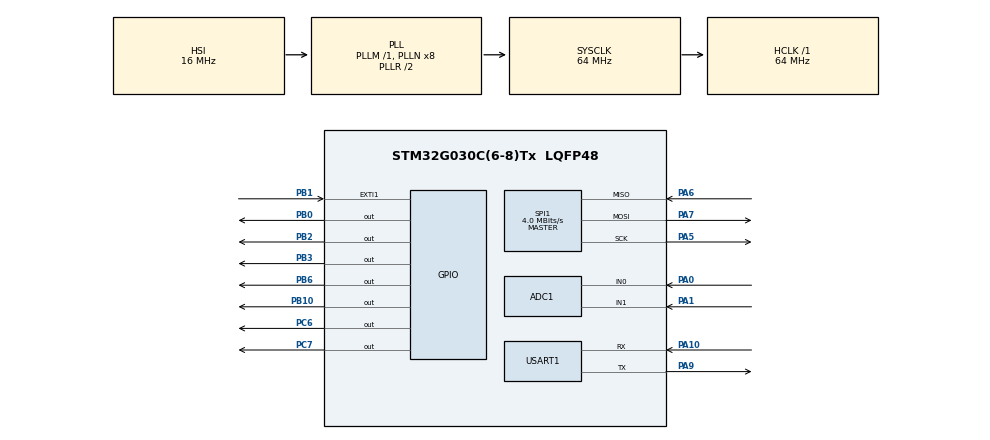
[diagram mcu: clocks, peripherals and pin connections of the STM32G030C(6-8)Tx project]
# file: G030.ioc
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ADC1.Channel-0\#ChannelRegularConversion=ADC_CHANNEL_0
ADC1.Channel-1\#ChannelRegularConversion=ADC_CHANNEL_1
ADC1.ContinuousConvMode=ENABLE
ADC1.DMAContinuousRequests=ENABLE
ADC1.NbrOfConversion=2
ADC1.NbrOfConversionFlag=1
ADC1.Rank-0\#ChannelRegularConversion=1
ADC1.Rank-1\#ChannelRegularConversion=2
ADC1.SamplingTime-0\#ChannelRegularConversion=ADC_SAMPLINGTIME_COMMON_1
ADC1.SamplingTime-1\#ChannelRegularConversion=ADC_SAMPLINGTIME_COMMON_2
ADC1.SamplingTimeCommon1=ADC_SAMPLETIME_160CYCLES_5
ADC1.SamplingTimeCommon2=ADC_SAMPLETIME_160CYCLES_5
ADC1.SelectedChannel=ADC_CHANNEL_0|ADC_CHANNEL_1
ADC1.master=1
Dma.ADC1.0.Direction=DMA_PERIPH_TO_MEMORY
Dma.ADC1.0.EventEnable=DISABLE
Dma.ADC1.0.Instance=DMA1_Channel1
Dma.ADC1.0.MemDataAlignment=DMA_MDATAALIGN_HALFWORD
Dma.ADC1.0.MemInc=DMA_MINC_ENABLE
Dma.ADC1.0.Mode=DMA_NORMAL
Dma.ADC1.0.PeriphDataAlignment=DMA_PDATAALIGN_HALFWORD
Dma.ADC1.0.PeriphInc=DMA_PINC_DISABLE
Dma.ADC1.0.Polarity=HAL_DMAMUX_REQ_GEN_RISING
Dma.ADC1.0.Priority=DMA_PRIORITY_LOW
Dma.ADC1.0.RequestNumber=1
Dma.ADC1.0.SignalID=NONE
Dma.ADC1.0.SyncEnable=DISABLE
Dma.ADC1.0.SyncPolarity=HAL_DMAMUX_SYNC_NO_EVENT
Dma.ADC1.0.SyncRequestNumber=1
Dma.ADC1.0.SyncSignalID=NONE
Dma.Request0=ADC1
Dma.Request1=USART1_TX
Dma.Request2=USART1_RX
Dma.USART1_RX.2.Direction=DMA_PERIPH_TO_MEMORY
Dma.USART1_RX.2.EventEnable=DISABLE
Dma.USART1_RX.2.Instance=DMA1_Channel3
Dma.USART1_RX.2.MemDataAlignment=DMA_MDATAALIGN_BYTE
Dma.USART1_RX.2.MemInc=DMA_MINC_ENABLE
Dma.USART1_RX.2.Mode=DMA_NORMAL
Dma.USART1_RX.2.PeriphDataAlignment=DMA_PDATAALIGN_BYTE
Dma.USART1_RX.2.PeriphInc=DMA_PINC_DISABLE
Dma.USART1_RX.2.Polarity=HAL_DMAMUX_REQ_GEN_RISING
Dma.USART1_RX.2.Priority=DMA_PRIORITY_LOW
Dma.USART1_RX.2.RequestNumber=1
Dma.USART1_RX.2.SignalID=NONE
Dma.USART1_RX.2.SyncEnable=DISABLE
Dma.USART1_RX.2.SyncPolarity=HAL_DMAMUX_SYNC_NO_EVENT
Dma.USART1_RX.2.SyncRequestNumber=1
Dma.USART1_RX.2.SyncSignalID=NONE
Dma.USART1_TX.1.Direction=DMA_MEMORY_TO_PERIPH
Dma.USART1_TX.1.EventEnable=DISABLE
Dma.USART1_TX.1.Instance=DMA1_Channel2
Dma.USART1_TX.1.MemDataAlignment=DMA_MDATAALIGN_BYTE
Dma.USART1_TX.1.MemInc=DMA_MINC_ENABLE
Dma.USART1_TX.1.Mode=DMA_NORMAL
Dma.USART1_TX.1.PeriphDataAlignment=DMA_PDATAALIGN_BYTE
Dma.USART1_TX.1.PeriphInc=DMA_PINC_DISABLE
Dma.USART1_TX.1.Polarity=HAL_DMAMUX_REQ_GEN_RISING
Dma.USART1_TX.1.Priority=DMA_PRIORITY_MEDIUM
Dma.USART1_TX.1.RequestNumber=1
Dma.USART1_TX.1.SignalID=NONE
Dma.USART1_TX.1.SyncEnable=DISABLE
Dma.USART1_TX.1.SyncPolarity=HAL_DMAMUX_SYNC_NO_EVENT
Dma.USART1_TX.1.SyncRequestNumber=1
Dma.USART1_TX.1.SyncSignalID=NONE
Mcu.Family=STM32G0
Mcu.Name=STM32G030C(6-8)Tx
Mcu.Package=LQFP48
NVIC.DMA1_Channel1_IRQn=true\:0\:0\:false\:false\:true\:false\:true\:true
NVIC.DMA1_Channel2_3_IRQn=true\:0\:0\:false\:false\:true\:false\:true\:true
NVIC.EXTI0_1_IRQn=true\:0\:0\:true\:false\:true\:true\:true\:true
NVIC.TIM1_BRK_UP_TRG_COM_IRQn=true\:1\:0\:true\:false\:true\:true\:true\:true
NVIC.USART1_IRQn=true\:2\:0\:true\:false\:true\:true\:true\:true
PA0.Mode=IN0
PA0.Signal=ADC1_IN0
PA1.Mode=IN1
PA1.Signal=ADC1_IN1
PA10.GPIO_Speed=GPIO_SPEED_FREQ_VERY_HIGH
PA10.Mode=Asynchronous
PA10.Signal=USART1_RX
PA13.Mode=Serial_Wire
PA13.Signal=SYS_SWDIO
PA14-BOOT0.Mode=Serial_Wire
PA14-BOOT0.Signal=SYS_SWCLK
PA5.Mode=Full_Duplex_Master
PA5.Signal=SPI1_SCK
PA6.Mode=Full_Duplex_Master
PA6.Signal=SPI1_MISO
PA7.Mode=Full_Duplex_Master
PA7.Signal=SPI1_MOSI
PA9.GPIO_Speed=GPIO_SPEED_FREQ_VERY_HIGH
PA9.Mode=Asynchronous
PA9.Signal=USART1_TX
PB0.Signal=GPIO_Output
PB1.Signal=GPXTI1
PB10.PinState=GPIO_PIN_SET
PB10.Signal=GPIO_Output
PB2.Signal=GPIO_Output
PB3.GPIO_ModeDefaultOutputPP=GPIO_MODE_OUTPUT_OD
PB3.GPIO_PuPd=GPIO_PULLUP
PB3.GPIO_Speed=GPIO_SPEED_FREQ_HIGH
PB3.PinState=GPIO_PIN_SET
PB3.Signal=GPIO_Output
PB6.GPIO_ModeDefaultOutputPP=GPIO_MODE_OUTPUT_OD
PB6.GPIO_PuPd=GPIO_PULLUP
PB6.GPIO_Speed=GPIO_SPEED_FREQ_HIGH
PB6.PinState=GPIO_PIN_SET
PB6.Signal=GPIO_Output
PC6.Signal=GPIO_Output
PC7.Signal=GPIO_Output
PF0-OSC_IN\ (PF0).Mode=HSE-External-Clock-Source
PF0-OSC_IN\ (PF0).Signal=RCC_OSC_IN
ProjectManager.HeapSize=0x200
ProjectManager.StackSize=0x400
ProjectManager.TargetToolchain=MDK-ARM V5.32
RCC.ADCFreq_Value=64000000
RCC.AHBFreq_Value=64000000
RCC.CortexFreq_Value=64000000
RCC.EXTERNAL_CLOCK_VALUE=12288000
RCC.HCLKFreq_Value=64000000
RCC.HSE_VALUE=8000000
RCC.HSI_VALUE=16000000
RCC.LSE_VALUE=32768
RCC.SYSCLKFreq_VALUE=64000000
RCC.SYSCLKSource=RCC_SYSCLKSOURCE_PLLCLK
RCC.VCOOutputFreq_Value=128000000
SPI1.BaudRatePrescaler=SPI_BAUDRATEPRESCALER_16
SPI1.CLKPhase=SPI_PHASE_2EDGE
SPI1.CalculateBaudRate=4.0 MBits/s
SPI1.Direction=SPI_DIRECTION_2LINES
SPI1.Mode=SPI_MODE_MASTER
SPI1.VirtualType=VM_MASTER
TIM1.AutoReloadPreload=TIM_AUTORELOAD_PRELOAD_ENABLE
TIM1.Period=999
TIM1.Prescaler=63
TIM1.RepetitionCounter=9
USART1.VirtualMode-Asynchronous=VM_ASYNC
VP_TIM1_VS_ClockSourceINT.Mode=Internal
board=custom

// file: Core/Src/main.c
/* USER CODE BEGIN Header */
/**
  ******************************************************************************
  * @file           : main.c
  * @brief          : Main program body
  ******************************************************************************
  * @attention
  *
  * Copyright (c) 2025 STMicroelectronics.
  * All rights reserved.
  *
  * This software is licensed under terms that can be found in the LICENSE file
  * in the root directory of this software component.
  * If no LICENSE file comes with this software, it is provided AS-IS.
  *
  ******************************************************************************
  */
/* USER CODE END Header */
#include "main.h"
#include "adc.h"
#include "dma.h"
#include "spi.h"
#include "tim.h"
#include "usart.h"
#include "gpio.h"

/* USER CODE BEGIN Includes */
#include "stdio.h"
#include <string.h>
#include "bsp_adc_dma.h"
#include "bsp_tim.h"
#include "bsp_soft_i2c.h"
#include "bsp_ir_red_cal2.h"
#include "bsp_usart_dma.h"
#include "NLsocket.h"
/* USER CODE END Includes */

/* USER CODE BEGIN PV */
volatile uint8_t adc_data_ready = 0;
uint8_t fifo_buffer[6] = {0};
uint8_t reg_commands[8] = {0x04, 0x05, 0x06, 0x08, 0x0A, 0x0C, 0x0D, 0x09};
uint8_t commands[8]     = {0x00, 0x00, 0x00, 0x00, 0x07, 0x18, 0x18, 0x03};
NLsocket nlsct = NL_SOCKET_INIT(&huart1);
/* USER CODE END PV */

void SystemClock_Config(void);

int main(void)
{

  /* MCU Configuration--------------------------------------------------------*/

  /* Reset of all peripherals, Initializes the Flash interface and the Systick. */
  HAL_Init();

  /* Configure the system clock */
  SystemClock_Config();

  /* Initialize all configured peripherals */
  MX_GPIO_Init();
  MX_DMA_Init();
  MX_ADC1_Init();
  MX_TIM1_Init();
  MX_USART1_UART_Init();
  MX_SPI1_Init();
  /* USER CODE BEGIN 2 */
  while(
    nlsct.Basic
      .Send_AT_cmd(nlsct.uart_handle, nlsct.AT_buffer, (const uint8_t*)"AT+RST\r\n",strlen("AT+RST\r\n"),WAIT_TIME_MS) != HAL_OK
  )  {
    nlsct.Basic
      .Send_AT_cmd(nlsct.uart_handle, nlsct.AT_buffer, (const uint8_t*)"+++",strlen("+++"),WAIT_TIME_MS) ;
  };
  while(
    nlsct.Basic.Send_AT_cmd(
      nlsct.uart_handle,
      nlsct.AT_buffer,
      (const uint8_t*)"AT+TRANSENTER=1,1\r\n",
      strlen("AT+TRANSENTER=1,1\r\n"),
      WAIT_TIME_MS
    ) && strstr((const char*)nlsct.AT_buffer,"OK") == NULL
  );
  while(
    nlsct.Basic.Send_AT_cmd(nlsct.uart_handle,nlsct.AT_buffer,(const uint8_t*)"AT+SLEMODE?\r\n",strlen("AT+SLEMODE?\r\n"),WAIT_TIME_MS) != HAL_OK
    && strstr((const char*)nlsct.AT_buffer,"+SLEMODE:1") == NULL
  ){
    nlsct.Basic.Send_AT_cmd(nlsct.uart_handle,nlsct.AT_buffer,(const uint8_t*)"AT+SLEMODE=1\r\n",strlen("AT+SLEMODE=1\r\n"),WAIT_TIME_MS);
  };
  while(
    nlsct.Basic.Send_AT_cmd(
      nlsct.uart_handle,
      nlsct.AT_buffer,
      (const uint8_t*)"AT+SLECONNECT=94c960f03832\r\n",
      strlen("AT+SLECONNECT=94c960f03832\r\n"),
      WAIT_TIME_MS
    ) != HAL_OK
    && strstr((const char*)nlsct.AT_buffer,"OK") == NULL
  );
  HR_Device_Init(0x57, reg_commands, commands, 8);
  BSP_TIM_Init(&htim1);
  BSP_TIM_Start_IT();
  while (1)
  {
    /* USER CODE END WHILE */

    /* USER CODE BEGIN 3 */
    if (adc_data_ready == 1)
    {
      Task_Battery_Monitor();
      adc_data_ready = 0;
    }
  }
  /* USER CODE END 3 */
}

void SystemClock_Config(void)
{
  RCC_OscInitTypeDef RCC_OscInitStruct = {0};
  RCC_ClkInitTypeDef RCC_ClkInitStruct = {0};

  /** Configure the main internal regulator output voltage
  */
  HAL_PWREx_ControlVoltageScaling(PWR_REGULATOR_VOLTAGE_SCALE1);

  /** Initializes the RCC Oscillators according to the specified parameters
  * in the RCC_OscInitTypeDef structure.
  */
  RCC_OscInitStruct.OscillatorType = RCC_OSCILLATORTYPE_HSI;
  RCC_OscInitStruct.HSIState = RCC_HSI_ON;
  RCC_OscInitStruct.HSIDiv = RCC_HSI_DIV1;
  RCC_OscInitStruct.HSICalibrationValue = RCC_HSICALIBRATION_DEFAULT;
  RCC_OscInitStruct.PLL.PLLState = RCC_PLL_ON;
  RCC_OscInitStruct.PLL.PLLSource = RCC_PLLSOURCE_HSI;
  RCC_OscInitStruct.PLL.PLLM = RCC_PLLM_DIV1;
  RCC_OscInitStruct.PLL.PLLN = 8;
  RCC_OscInitStruct.PLL.PLLP = RCC_PLLP_DIV2;
  RCC_OscInitStruct.PLL.PLLR = RCC_PLLR_DIV2;
  if (HAL_RCC_OscConfig(&RCC_OscInitStruct) != HAL_OK)
  {
    Error_Handler();
  }

  /** Initializes the CPU, AHB and APB buses clocks
  */
  RCC_ClkInitStruct.ClockType = RCC_CLOCKTYPE_HCLK|RCC_CLOCKTYPE_SYSCLK
                              |RCC_CLOCKTYPE_PCLK1;
  RCC_ClkInitStruct.SYSCLKSource = RCC_SYSCLKSOURCE_PLLCLK;
  RCC_ClkInitStruct.AHBCLKDivider = RCC_SYSCLK_DIV1;
  RCC_ClkInitStruct.APB1CLKDivider = RCC_HCLK_DIV1;

  if (HAL_RCC_ClockConfig(&RCC_ClkInitStruct, FLASH_LATENCY_2) != HAL_OK)
  {
    Error_Handler();
  }
}

/* USER CODE BEGIN 4 */
void HAL_ADC_ConvCpltCallback(ADC_HandleTypeDef *hadc)
{
    if (hadc->Instance == ADC1)
    {
        HAL_ADC_Stop_DMA(hadc);
        adc_data_ready = 1;
    }
}

/* USER CODE END 4 */

void Error_Handler(void)
{
  __disable_irq();
  while (1)
  {
  }
}
